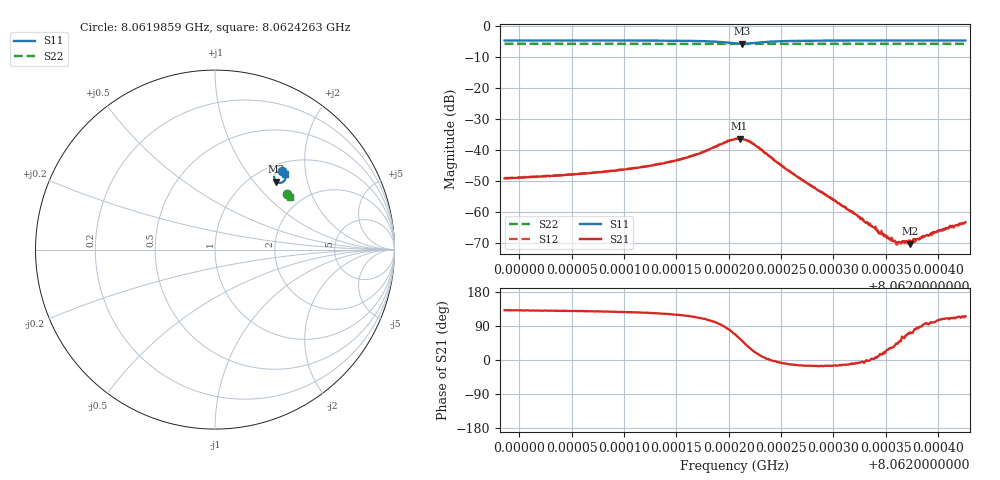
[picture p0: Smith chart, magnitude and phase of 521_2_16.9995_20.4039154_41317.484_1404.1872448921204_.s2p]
#  HZ  S  RI  R  50.00
! Rohde & Schwarz Vector Network Analyzer
! Rohde-Schwarz,ZNB20-2Port,1311601062101988,3.16
! Created: UTC 3/20/2024, 11:15:24 PM
! freq[Hz]  re:S11  im:S11  re:S21  im:S21  re:S12  im:S12  re:S22  im:S22
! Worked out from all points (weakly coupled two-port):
!   401 points, 8.0619859 GHz to 8.0624263 GHz, reference 50 ohm
!   highest |S21| = -36.41 dB at 8.0622105 GHz (marker M1); lowest = -70.3 dB at 8.0623734 GHz (marker M2)
!   lowest |S11| = -5.8 dB at 8.0622127 GHz (marker M3), VSWR 3.08, Z = 64 + j65.6 ohm
!   |S11| at or under -10 dB: nowhere
!   |S22| runs from -5.9 to -5.9 dB; largest |S21 - S12| = 0.001
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8.06198587e9  0.3759 0.4364  -0.00227 0.00258  -0.00212 0.00274  0.4023 0.312
8.06205964e9  0.3821 0.4306  -0.00256 0.00315  -0.00243 0.00338  0.4051 0.3084
8.06210037e9  0.3858 0.4259  -0.00286 0.00384  -0.00263 0.00406  0.4066 0.3062
8.06213341e9  0.3897 0.4199  -0.00317 0.00489  -0.00288 0.00513  0.4078 0.3043
8.06216534e9  0.3933 0.408  -0.00327 0.00724  -0.00288 0.00746  0.4088 0.3022
8.06219066e9  0.3875 0.3855  -0.00112 0.0119  -0.00041 0.0119  0.409 0.2999
8.06220607e9  0.3589 0.3722  0.00552 0.0137  0.00649 0.0135  0.4083 0.2991
8.06221048e9  0.3466 0.3757  0.00832 0.0126  0.00911 0.0122  0.4078 0.2993
8.06221268e9  0.341 0.3794  0.0094 0.0117  0.0102 0.0111  0.4078 0.2994
8.06222479e9  0.3302 0.4101  0.0111 0.00439  0.0115 0.00374  0.4081 0.3003
8.06225452e9  0.3571 0.4356  0.00484 -0.000826  0.00487 -0.00109  0.4106 0.2997
8.06227984e9  0.3693 0.4351  0.00245 -0.000674  0.00242 -0.000839  0.412 0.2982
8.06232058e9  0.3788 0.4316  0.000907 -0.000151  0.000901 -0.000213  0.4137 0.296
8.0623437e9  0.382 0.4296  0.000435 8.66e-05  0.000433 3.37e-05  0.4145 0.2947
8.06235361e9  0.3832 0.429  0.000308 0.000185  0.000339 0.000143  0.4149 0.2942
8.06236242e9  0.3842 0.4283  0.000226 0.000234  0.000235 0.000239  0.4152 0.2939
8.06237123e9  0.3853 0.4277  0.000104 0.000289  0.000142 0.000283  0.4156 0.2933
8.06237343e9  0.3855 0.4275  8.84e-05 0.000292  0.000117 0.000323  0.4156 0.2933
8.06237673e9  0.3858 0.4272  8.72e-05 0.000351  0.000116 0.000337  0.4158 0.2931
8.06237893e9  0.3859 0.4272  5.16e-05 0.000342  4.66e-05 0.000334  0.416 0.2929
8.06240976e9  0.3889 0.4251  -0.000187 0.000507  -0.000151 0.000537  0.4171 0.2913
8.06242628e9  0.39 0.424  -0.000293 0.000611  -0.000237 0.000619  0.4175 0.2905
